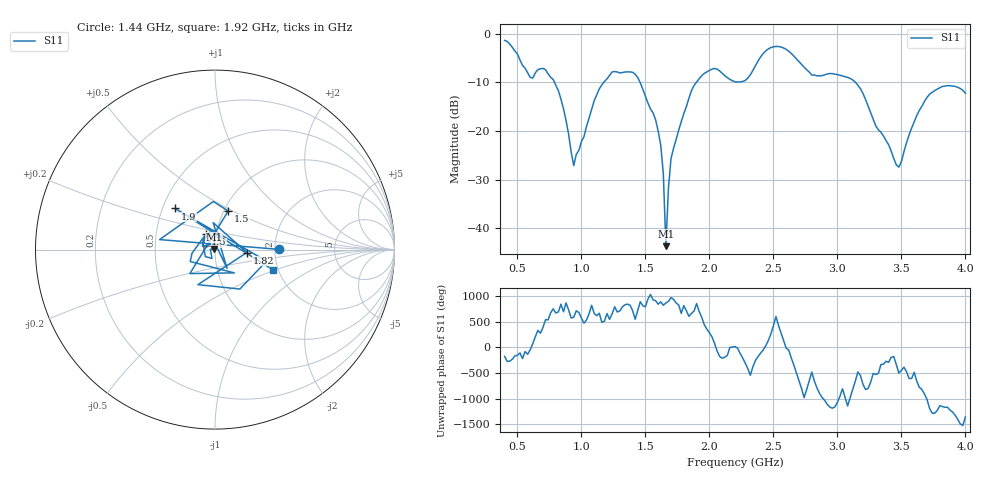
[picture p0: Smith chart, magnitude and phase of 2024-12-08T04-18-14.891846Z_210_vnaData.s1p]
!Created with skrf (http://scikit-rf.org).
# Hz S RI R 50.0
!freq ReS11 ImS11
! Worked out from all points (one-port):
!   181 points, 400 MHz to 4 GHz, reference 50 ohm
!   lowest |S11| = -43.7 dB at 1.66 GHz (marker M1), VSWR 1.01, Z = 49.5 + j0.377 ohm
!   |S11| at or under -10 dB: 789.8 MHz to 1.175 GHz (385 MHz wide, 39.2 % of centre); 1.459 GHz to 1.898 GHz (438.9 MHz wide, 26.2 % of centre); 3.141 GHz to end of sweep
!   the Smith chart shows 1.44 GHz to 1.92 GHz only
!   S11 on the Smith chart (normalised r, x): 1.44 GHz: 2.10, +0.01; 1.5 GHz: 1.05, +0.47; 1.6 GHz: 0.89, +0.15; 1.82 GHz: 1.43, -0.05; 1.9 GHz: 0.58, +0.30; 1.92 GHz: 1.88, -0.49
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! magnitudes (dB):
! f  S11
! 400 MHz  -1.4
! 600 MHz  -9.0
! 720 MHz  -7.4
! 860 MHz  -15.4
! 940 MHz  -27.1
! 1.14 GHz  -11.3
! 1.3 GHz  -8.0
! 1.44 GHz  -9.0
! 1.5 GHz  -12.9
! 1.6 GHz  -20.0
! 1.64 GHz  -28.8
! 1.66 GHz  -43.7
! 1.68 GHz  -31.8
! 1.7 GHz  -25.7
! 1.76 GHz  -19.8
! 1.82 GHz  -15.0
! 1.9 GHz  -9.9
! 1.92 GHz  -9.2
! 2.04 GHz  -7.1
! 2.2 GHz  -9.9
! 2.48 GHz  -2.8
! 2.66 GHz  -4.6
! 2.8 GHz  -8.5
! 3.1 GHz  -9.2
! 3.46 GHz  -27.0
! 3.56 GHz  -20.8
! 3.72 GHz  -12.4
! 4 GHz  -12.2
